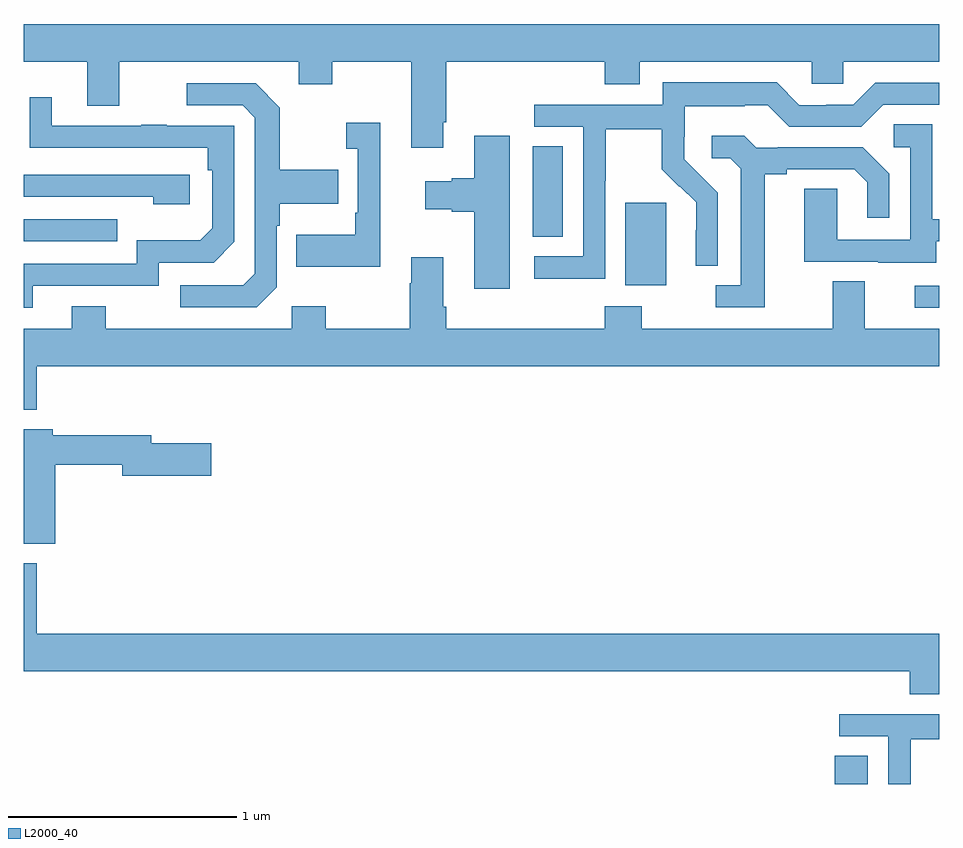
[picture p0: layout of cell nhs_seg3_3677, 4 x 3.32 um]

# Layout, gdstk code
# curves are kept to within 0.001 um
import gdstk
lib = gdstk.Library(unit=1e-6, precision=1e-09)
def R(c, l, rs):  # rectangles x0, y0, x1, y1
    for r in rs: c.add(gdstk.rectangle(r[:2], r[2:], *l))
def P(c, l, *ps):  # polygons
    for p in ps: c.add(gdstk.Polygon(p, *l))
L2000_40 = (2000, 40)

nhs_seg3_3677 = lib.new_cell('nhs_seg3_3677')
R(nhs_seg3_3677, L2000_40, [(304.544,724.4,304.687,724.523), (304.893,726.48,305,726.576), (303.629,726.578,303.808,726.939), (301,726.771,301.409,726.867), (303.224,726.79,303.355,727.187)])
P(nhs_seg3_3677, L2000_40, [(302.833,727.291),(302.846,727.291),(302.846,727.556),(303.539,727.556),(303.539,727.457),(303.691,727.457),(303.691,727.556),(304.443,727.556),(304.443,727.458),(304.581,727.458),(304.581,727.556),(305,727.556),(305,727.72),(301,727.72),(301,727.556),(301.277,727.556),(301.277,727.362),(301.417,727.362),(301.417,727.556),(302.201,727.556),(302.201,727.457),(302.349,727.457),(302.349,727.556),(302.693,727.556),(302.693,727.179),(302.833,727.179)],
  [(303.54,727.036),(303.543,727.036),(303.543,727.26),(303.787,727.26),(303.787,727.085),(303.864,727.008),(303.867,727.011),(303.938,726.941),(303.938,726.818),(303.936,726.818),(303.936,726.664),(304.032,726.664),(304.032,726.982),(303.886,727.13),(303.886,727.227),(303.888,727.227),(303.888,727.361),(304.151,727.361),(304.151,727.365),(304.251,727.365),(304.344,727.272),(304.659,727.272),(304.755,727.368),(305,727.368),(305,727.464),(304.719,727.464),(304.623,727.368),(304.505,727.368),(304.505,727.365),(304.389,727.365),(304.289,727.465),(303.792,727.465),(303.792,727.368),(303.231,727.368),(303.231,727.272),(303.444,727.272),(303.444,726.705),(303.231,726.705),(303.231,726.607),(303.54,726.607)],
  [(302.106,726.57),(302.106,726.839),(302.119,726.839),(302.119,726.935),(302.375,726.935),(302.375,727.083),(302.119,727.083),(302.119,727.355),(302.013,727.461),(301.713,727.461),(301.713,727.365),(301.956,727.365),(302.01,727.311),(302.01,726.63),(301.959,726.579),(301.683,726.579),(301.683,726.483),(302.019,726.483)],
  [(301.039,726.576),(301.59,726.576),(301.59,726.678),(301.83,726.678),(301.92,726.768),(301.92,727.275),(301.625,727.275),(301.625,727.28),(301.513,727.28),(301.513,727.275),(301.123,727.275),(301.123,727.399),(301.027,727.399),(301.027,727.18),(301.804,727.179),(301.804,727.082),(301.824,727.082),(301.824,726.828),(301.771,726.775),(301.494,726.775),(301.494,726.672),(301,726.672),(301,726.48),(301.039,726.48)],
  [(302.558,727.288),(302.409,727.288),(302.409,727.175),(302.46,727.175),(302.46,726.895),(302.448,726.895),(302.448,726.799),(302.191,726.799),(302.191,726.659),(302.558,726.659)],
  [(304.987,726.771),(305,726.771),(305,726.867),(304.968,726.867),(304.968,727.283),(304.8,727.283),(304.8,727.182),(304.872,727.182),(304.872,726.777),(304.554,726.777),(304.554,727.001),(304.409,727.001),(304.409,726.681),(304.733,726.681),(304.733,726.677),(304.987,726.677)],
  [(304.237,727.064),(304.333,727.064),(304.333,727.086),(304.628,727.086),(304.685,727.029),(304.685,726.873),(304.782,726.873),(304.782,727.066),(304.666,727.182),(304.294,727.182),(304.294,727.179),(304.2,727.179),(304.148,727.231),(304.005,727.231),(304.005,727.134),(304.086,727.134),(304.133,727.087),(304.133,726.579),(304.023,726.579),(304.023,726.483),(304.237,726.483)],
  [(303.124,727.231),(302.969,727.231),(302.969,727.046),(302.87,727.046),(302.87,727.033),(302.754,727.033),(302.754,726.911),(302.87,726.911),(302.87,726.899),(302.969,726.899),(302.969,726.564),(303.124,726.564)],
  [(301.726,727.062),(301,727.062),(301,726.966),(301.565,726.966),(301.565,726.932),(301.726,726.932)],
  [(301.058,726.224),(305,726.224),(305,726.388),(304.675,726.388),(304.675,726.596),(304.535,726.596),(304.535,726.388),(303.699,726.388),(303.699,726.487),(303.539,726.487),(303.539,726.388),(302.846,726.388),(302.846,726.484),(302.833,726.484),(302.833,726.7),(302.693,726.7),(302.693,726.587),(302.686,726.587),(302.686,726.388),(302.319,726.388),(302.319,726.487),(302.172,726.487),(302.172,726.388),(301.359,726.388),(301.359,726.487),(301.211,726.487),(301.211,726.388),(301,726.388),(301,726.034),(301.058,726.034)],
  [(301.139,725.794),(301.43,725.794),(301.43,725.747),(301.819,725.747),(301.819,725.889),(301.558,725.889),(301.558,725.923),(301.126,725.923),(301.126,725.949),(301,725.949),(301,725.45),(301.139,725.45)],
  [(305,725.056),(301.058,725.056),(301.058,725.365),(301,725.365),(301,724.892),(304.871,724.892),(304.871,724.793),(305,724.793)],
  [(304.875,724.596),(305,724.596),(305,724.704),(304.563,724.704),(304.563,724.608),(304.776,724.608),(304.776,724.4),(304.875,724.4)])

lib.write_gds('nhs_seg3_3677.gds')
